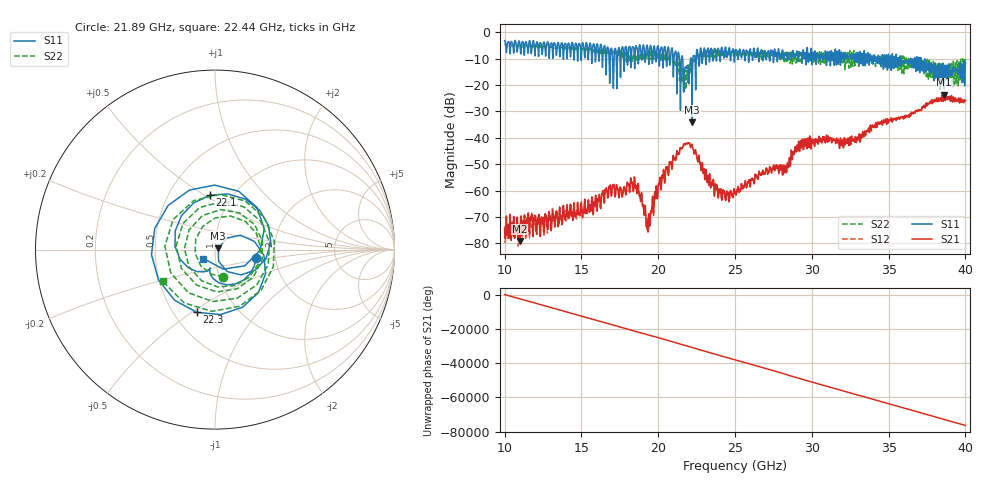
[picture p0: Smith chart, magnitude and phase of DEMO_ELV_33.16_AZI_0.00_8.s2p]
! 11/3/2026 12:49:54 PM
! C:\ANRITSUVNA\TEMP\TEMP.S2P
! CHANNEL.1
! TR.MEASUREMENT
! RAW.DATA
# HZ S RI R 50.0
! FREQ.HZ  S11RE  S11IM  S21RE  S21IM  S12RE  S12IM  S22RE  S22IM
!; PortSelection: Port_12
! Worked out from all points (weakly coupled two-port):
!   3001 points, 10 GHz to 40 GHz, reference 50 ohm
!   highest |S21| = -23.58 dB at 38.62 GHz (marker M1); lowest = -79.1 dB at 10.99 GHz (marker M2)
!   lowest |S11| = -34.2 dB at 22.21 GHz (marker M3), VSWR 1.04, Z = 51.9 + j0.683 ohm
!   |S11| at or under -10 dB: 21.59 GHz to 22.11 GHz (517.8 MHz wide, 2.37 % of centre); 35.78 GHz to 36.45 GHz (666.7 MHz wide, 1.85 % of centre); 37.12 GHz to end of sweep (the widest 3 of 108)
!   |S22| runs from -22.3 to -4.5 dB; largest |S21 - S12| = 0.082
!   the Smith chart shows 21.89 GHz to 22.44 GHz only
!   S11 on the Smith chart (normalised r, x): 21.89 GHz: 1.58, -0.16; 22.1 GHz: 0.79, +0.53; 22.3 GHz: 0.65, -0.52; 22.44 GHz: 0.87, -0.09
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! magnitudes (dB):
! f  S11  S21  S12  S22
! 10 GHz  -3.2  -74.7  -73.5  -4.7
! 10.99 GHz  -4.3  -79.1  -74.5  -5.1
! 15 GHz  -9.9  -65.0  -64.3  -6.4
! 17.19 GHz  -6.2  -61.9  -62.3  -7.8
! 18.34 GHz  -5.5  -58.3  -58.4  -10.9
! 18.8 GHz  -4.7  -61.4  -61.4  -8.3
! 19.34 GHz  -7.1  -75.7  -74.3  -7.3
! 20 GHz  -5.4  -58.4  -58.6  -7.5
! 21.89 GHz  -12.6  -42.2  -42.5  -16.0
! 22.1 GHz  -10.4  -43.7  -43.3  -12.2
! 22.21 GHz  -34.2  -42.7  -42.7  -12.1
! 22.3 GHz  -8.8  -44.7  -44.8  -11.0
! 22.44 GHz  -21.8  -45.1  -45.2  -9.4
! 23.79 GHz  -10.8  -58.9  -59.3  -8.8
! 25 GHz  -7.6  -60.7  -61.1  -8.3
! 28.23 GHz  -8.6  -53.2  -53.0  -9.9
! 29.02 GHz  -7.1  -42.9  -42.9  -8.1
! 30 GHz  -10.3  -40.4  -40.4  -8.0
! 33.02 GHz  -7.7  -40.5  -40.8  -9.1
! 35 GHz  -8.5  -33.9  -33.8  -11.0
! 38.62 GHz  -21.4  -23.6  -23.4  -16.8
! 40 GHz  -11.7  -26.0  -26.0  -12.3
